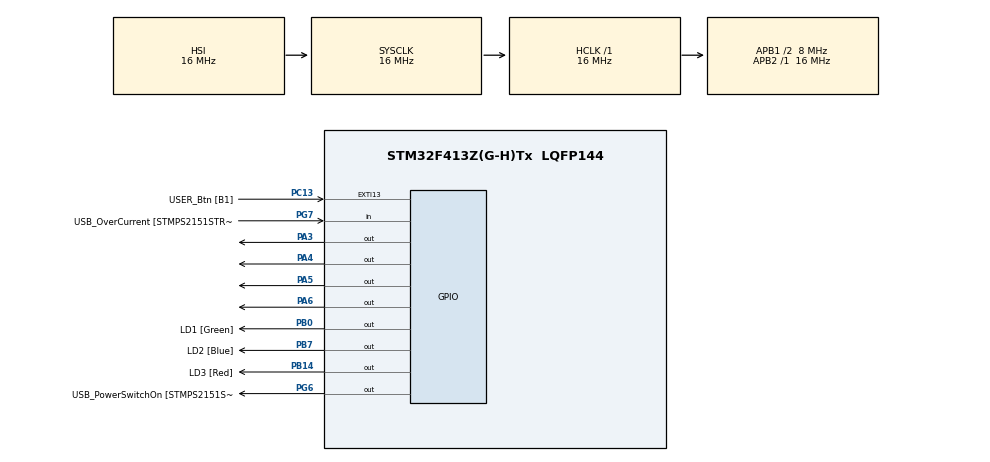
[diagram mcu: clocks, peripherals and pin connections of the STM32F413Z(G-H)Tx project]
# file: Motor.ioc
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Mcu.Family=STM32F4
Mcu.Name=STM32F413Z(G-H)Tx
Mcu.Package=LQFP144
NVIC.PriorityGroup=NVIC_PRIORITYGROUP_4
PA10.GPIO_Label=USB_ID
PA10.Signal=USB_OTG_FS_ID
PA11.GPIO_Label=USB_DM
PA11.Signal=USB_OTG_FS_DM
PA12.GPIO_Label=USB_DP
PA12.Signal=USB_OTG_FS_DP
PA13.GPIO_Label=TMS
PA13.Mode=Trace_Asynchronous_SW
PA13.Signal=SYS_JTMS-SWDIO
PA14.GPIO_Label=TCK
PA14.Mode=Trace_Asynchronous_SW
PA14.Signal=SYS_JTCK-SWCLK
PA3.Signal=GPIO_Output
PA4.Signal=GPIO_Output
PA5.Signal=GPIO_Output
PA6.Signal=GPIO_Output
PA8.GPIO_Label=USB_SOF [TP1]
PA8.Signal=USB_OTG_FS_SOF
PA9.GPIO_Label=USB_VBUS
PA9.Signal=USB_OTG_FS_VBUS
PB0.GPIO_Label=LD1 [Green]
PB0.Signal=GPIO_Output
PB14.GPIO_Label=LD3 [Red]
PB14.Signal=GPIO_Output
PB3.GPIO_Label=SWO
PB3.Mode=Trace_Asynchronous_SW
PB3.Signal=SYS_JTDO-SWO
PB7.GPIO_Label=LD2 [Blue]
PB7.Signal=GPIO_Output
PC13.GPIO_Label=USER_Btn [B1]
PC13.Signal=GPXTI13
PC14-OSC32_IN.Signal=RCC_OSC32_IN
PC15-OSC32_OUT.Signal=RCC_OSC32_OUT
PD8.GPIO_Label=STLK_RX [STM32F103CBT6_PA3]
PD8.Signal=USART3_TX
PD9.GPIO_Label=STLK_TX [STM32F103CBT6_PA2]
PD9.Signal=USART3_RX
PG6.GPIO_Label=USB_PowerSwitchOn [STMPS2151STR_EN]
PG6.Signal=GPIO_Output
PG7.GPIO_Label=USB_OverCurrent [STMPS2151STR_FAULT]
PG7.Signal=GPIO_Input
PH0\ -\ OSC_IN.GPIO_Label=MCO
PH0\ -\ OSC_IN.Mode=HSE-External-Oscillator
PH0\ -\ OSC_IN.Signal=RCC_OSC_IN
PH1\ -\ OSC_OUT.Mode=HSE-External-Oscillator
PH1\ -\ OSC_OUT.Signal=RCC_OSC_OUT
ProjectManager.HeapSize=0x200
ProjectManager.StackSize=0x400
ProjectManager.TargetToolchain=STM32CubeIDE
RCC.48MHZClocksFreq_Value=24000000
RCC.AHBFreq_Value=16000000
RCC.APB1CLKDivider=RCC_HCLK_DIV2
RCC.APB1Freq_Value=8000000
RCC.APB1TimFreq_Value=16000000
RCC.APB2Freq_Value=16000000
RCC.APB2TimFreq_Value=16000000
RCC.CortexFreq_Value=16000000
RCC.HCLKFreq_Value=16000000
RCC.HSE_VALUE=8000000
RCC.HSI_VALUE=16000000
RCC.PLLMUL=RCC_PLL_MUL9
RCC.PRESCALERUSB=RCC_USBCLKSOURCE_PLL_DIV1_5
RCC.SYSCLKFreq_VALUE=16000000
RCC.SYSCLKSourceVirtual=RCC_SYSCLKSOURCE_PLLCLK
RCC.USBFreq_Value=96000000
RCC.VCOOutputFreq_Value=192000000
TIM2.Prescaler=71
VP_TIM2_VS_ClockSourceINT.Mode=Internal
board=NUCLEO-F413ZH

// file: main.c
/* USER CODE BEGIN Header */
/**
  ******************************************************************************
  * @file           : main.c
  * @brief          : Main program body
  ******************************************************************************
  * @attention
  *
  * Copyright (c) 2022 STMicroelectronics.
  * All rights reserved.
  *
  * This software is licensed under terms that can be found in the LICENSE file
  * in the root directory of this software component.
  * If no LICENSE file comes with this software, it is provided AS-IS.
  *
  ******************************************************************************
  */
/* USER CODE END Header */
#include "main.h"

TIM_HandleTypeDef htim2;

void SystemClock_Config(void);
static void MX_GPIO_Init(void);
static void MX_TIM2_Init(void);

/* USER CODE BEGIN 0 */
#define IN1_PIN GPIO_PIN_6
#define IN1_PORT GPIOA
#define IN2_PIN GPIO_PIN_5
#define IN2_PORT GPIOA
#define IN3_PIN GPIO_PIN_4
#define IN3_PORT GPIOA
#define IN4_PIN GPIO_PIN_3
#define IN4_PORT GPIOA

void microDelay (uint16_t delay)
{
  __HAL_TIM_SET_COUNTER(&htim2, 0);
  while (__HAL_TIM_GET_COUNTER(&htim2) < delay);
}

void stepCCV (int steps, uint16_t delay) // CCV - Counter Clockwise
{
  for(int x=0; x<steps; x=x+1)
  {
    HAL_GPIO_WritePin(IN1_PORT, IN1_PIN, GPIO_PIN_SET);   // IN1
    HAL_GPIO_WritePin(IN2_PORT, IN2_PIN, GPIO_PIN_RESET); // IN2
    HAL_GPIO_WritePin(IN3_PORT, IN3_PIN, GPIO_PIN_RESET); // IN3
    HAL_GPIO_WritePin(IN4_PORT, IN4_PIN, GPIO_PIN_RESET); // IN4
    microDelay(delay);
    HAL_GPIO_WritePin(IN1_PORT, IN1_PIN, GPIO_PIN_SET);   // IN1
    HAL_GPIO_WritePin(IN2_PORT, IN2_PIN, GPIO_PIN_SET);   // IN2
    HAL_GPIO_WritePin(IN3_PORT, IN3_PIN, GPIO_PIN_RESET); // IN3
    HAL_GPIO_WritePin(IN4_PORT, IN4_PIN, GPIO_PIN_RESET); // IN4
    microDelay(delay);
    HAL_GPIO_WritePin(IN1_PORT, IN1_PIN, GPIO_PIN_RESET); // IN1
    HAL_GPIO_WritePin(IN2_PORT, IN2_PIN, GPIO_PIN_SET);   // IN2
    HAL_GPIO_WritePin(IN3_PORT, IN3_PIN, GPIO_PIN_RESET); // IN3
    HAL_GPIO_WritePin(IN4_PORT, IN4_PIN, GPIO_PIN_RESET); // IN4
    microDelay(delay);
    HAL_GPIO_WritePin(IN1_PORT, IN1_PIN, GPIO_PIN_RESET); // IN1
    HAL_GPIO_WritePin(IN2_PORT, IN2_PIN, GPIO_PIN_SET);   // IN2
    HAL_GPIO_WritePin(IN3_PORT, IN3_PIN, GPIO_PIN_SET);   // IN3
    HAL_GPIO_WritePin(IN4_PORT, IN4_PIN, GPIO_PIN_RESET); // IN4
    microDelay(delay);
    HAL_GPIO_WritePin(IN1_PORT, IN1_PIN, GPIO_PIN_RESET); // IN1
    HAL_GPIO_WritePin(IN2_PORT, IN2_PIN, GPIO_PIN_RESET); // IN2
    HAL_GPIO_WritePin(IN3_PORT, IN3_PIN, GPIO_PIN_SET);   // IN3
    HAL_GPIO_WritePin(IN4_PORT, IN4_PIN, GPIO_PIN_RESET); // IN4
    microDelay(delay);
    HAL_GPIO_WritePin(IN1_PORT, IN1_PIN, GPIO_PIN_RESET); // IN1
    HAL_GPIO_WritePin(IN2_PORT, IN2_PIN, GPIO_PIN_RESET); // IN2
    HAL_GPIO_WritePin(IN3_PORT, IN3_PIN, GPIO_PIN_SET);   // IN3
    HAL_GPIO_WritePin(IN4_PORT, IN4_PIN, GPIO_PIN_SET);   // IN4
    microDelay(delay);
    HAL_GPIO_WritePin(IN1_PORT, IN1_PIN, GPIO_PIN_RESET); // IN1
    HAL_GPIO_WritePin(IN2_PORT, IN2_PIN, GPIO_PIN_RESET); // IN2
    HAL_GPIO_WritePin(IN3_PORT, IN3_PIN, GPIO_PIN_RESET); // IN3
    HAL_GPIO_WritePin(IN4_PORT, IN4_PIN, GPIO_PIN_SET);   // IN4
    microDelay(delay);
    HAL_GPIO_WritePin(IN1_PORT, IN1_PIN, GPIO_PIN_SET);   // IN1
    HAL_GPIO_WritePin(IN2_PORT, IN2_PIN, GPIO_PIN_RESET); // IN2
    HAL_GPIO_WritePin(IN3_PORT, IN3_PIN, GPIO_PIN_RESET); // IN3
    HAL_GPIO_WritePin(IN4_PORT, IN4_PIN, GPIO_PIN_SET);   // IN4
    microDelay(delay);
  }
}

void stepCV (int steps, uint16_t delay) // CV - Clockwise
{
  for(int x=0; x<steps; x=x+1)
  {
    HAL_GPIO_WritePin(IN1_PORT, IN1_PIN, GPIO_PIN_SET);   // IN1
    HAL_GPIO_WritePin(IN2_PORT, IN2_PIN, GPIO_PIN_RESET); // IN2
    HAL_GPIO_WritePin(IN3_PORT, IN3_PIN, GPIO_PIN_RESET); // IN3
    HAL_GPIO_WritePin(IN4_PORT, IN4_PIN, GPIO_PIN_SET);   // IN4
    microDelay(delay);
    HAL_GPIO_WritePin(IN1_PORT, IN1_PIN, GPIO_PIN_RESET); // IN1
    HAL_GPIO_WritePin(IN2_PORT, IN2_PIN, GPIO_PIN_RESET); // IN2
    HAL_GPIO_WritePin(IN3_PORT, IN3_PIN, GPIO_PIN_RESET); // IN3
    HAL_GPIO_WritePin(IN4_PORT, IN4_PIN, GPIO_PIN_SET);   // IN4
    microDelay(delay);
    HAL_GPIO_WritePin(IN1_PORT, IN1_PIN, GPIO_PIN_RESET); // IN1
    HAL_GPIO_WritePin(IN2_PORT, IN2_PIN, GPIO_PIN_RESET); // IN2
    HAL_GPIO_WritePin(IN3_PORT, IN3_PIN, GPIO_PIN_SET);   // IN3
    HAL_GPIO_WritePin(IN4_PORT, IN4_PIN, GPIO_PIN_SET);   // IN4
    microDelay(delay);
    HAL_GPIO_WritePin(IN1_PORT, IN1_PIN, GPIO_PIN_RESET); // IN1
    HAL_GPIO_WritePin(IN2_PORT, IN2_PIN, GPIO_PIN_RESET); // IN2
    HAL_GPIO_WritePin(IN3_PORT, IN3_PIN, GPIO_PIN_SET);   // IN3
    HAL_GPIO_WritePin(IN4_PORT, IN4_PIN, GPIO_PIN_RESET); // IN4
    microDelay(delay);
    HAL_GPIO_WritePin(IN1_PORT, IN1_PIN, GPIO_PIN_RESET); // IN1
    HAL_GPIO_WritePin(IN2_PORT, IN2_PIN, GPIO_PIN_SET);   // IN2
    HAL_GPIO_WritePin(IN3_PORT, IN3_PIN, GPIO_PIN_SET);   // IN3
    HAL_GPIO_WritePin(IN4_PORT, IN4_PIN, GPIO_PIN_RESET); // IN4
    microDelay(delay);
    HAL_GPIO_WritePin(IN1_PORT, IN1_PIN, GPIO_PIN_RESET); // IN1
    HAL_GPIO_WritePin(IN2_PORT, IN2_PIN, GPIO_PIN_SET);   // IN2
    HAL_GPIO_WritePin(IN3_PORT, IN3_PIN, GPIO_PIN_RESET); // IN3
    HAL_GPIO_WritePin(IN4_PORT, IN4_PIN, GPIO_PIN_RESET); // IN4
    microDelay(delay);
    HAL_GPIO_WritePin(IN1_PORT, IN1_PIN, GPIO_PIN_SET);   // IN1
    HAL_GPIO_WritePin(IN2_PORT, IN2_PIN, GPIO_PIN_SET);   // IN2
    HAL_GPIO_WritePin(IN3_PORT, IN3_PIN, GPIO_PIN_RESET); // IN3
    HAL_GPIO_WritePin(IN4_PORT, IN4_PIN, GPIO_PIN_RESET); // IN4
    microDelay(delay);
    HAL_GPIO_WritePin(IN1_PORT, IN1_PIN, GPIO_PIN_SET);   // IN1
    HAL_GPIO_WritePin(IN2_PORT, IN2_PIN, GPIO_PIN_RESET); // IN2
    HAL_GPIO_WritePin(IN3_PORT, IN3_PIN, GPIO_PIN_RESET); // IN3
    HAL_GPIO_WritePin(IN4_PORT, IN4_PIN, GPIO_PIN_RESET); // IN4
    microDelay(delay);
  }
}
/* USER CODE END 0 */

int main(void)
{

  /* MCU Configuration--------------------------------------------------------*/

  /* Reset of all peripherals, Initializes the Flash interface and the Systick. */
  HAL_Init();

  /* Configure the system clock */
  SystemClock_Config();

  /* Initialize all configured peripherals */
  MX_GPIO_Init();
  MX_TIM2_Init();
  /* USER CODE BEGIN 2 */
  HAL_TIM_Base_Start(&htim2);
  /* USER CODE END 2 */

  /* Infinite loop */
  /* USER CODE BEGIN WHILE */
  while (1)
  {
    // 512 full rev & 1 rpm - 14648
  //  stepCV(512, 200);  // 256 half revolution
  //  HAL_Delay(500);
    /* USER CODE END WHILE */

  }
}

void SystemClock_Config(void)
{
  RCC_OscInitTypeDef RCC_OscInitStruct = {0};
  RCC_ClkInitTypeDef RCC_ClkInitStruct = {0};

  /** Configure the main internal regulator output voltage
  */
  __HAL_RCC_PWR_CLK_ENABLE();
  __HAL_PWR_VOLTAGESCALING_CONFIG(PWR_REGULATOR_VOLTAGE_SCALE1);

  /** Initializes the RCC Oscillators according to the specified parameters
  * in the RCC_OscInitTypeDef structure.
  */
  RCC_OscInitStruct.OscillatorType = RCC_OSCILLATORTYPE_HSI;
  RCC_OscInitStruct.HSIState = RCC_HSI_ON;
  RCC_OscInitStruct.HSICalibrationValue = RCC_HSICALIBRATION_DEFAULT;
  RCC_OscInitStruct.PLL.PLLState = RCC_PLL_NONE;
  if (HAL_RCC_OscConfig(&RCC_OscInitStruct) != HAL_OK)
  {
    Error_Handler();
  }

  /** Initializes the CPU, AHB and APB buses clocks
  */
  RCC_ClkInitStruct.ClockType = RCC_CLOCKTYPE_HCLK|RCC_CLOCKTYPE_SYSCLK
                              |RCC_CLOCKTYPE_PCLK1|RCC_CLOCKTYPE_PCLK2;
  RCC_ClkInitStruct.SYSCLKSource = RCC_SYSCLKSOURCE_HSI;
  RCC_ClkInitStruct.AHBCLKDivider = RCC_SYSCLK_DIV1;
  RCC_ClkInitStruct.APB1CLKDivider = RCC_HCLK_DIV2;
  RCC_ClkInitStruct.APB2CLKDivider = RCC_HCLK_DIV1;

  if (HAL_RCC_ClockConfig(&RCC_ClkInitStruct, FLASH_LATENCY_0) != HAL_OK)
  {
    Error_Handler();
  }
}

static void MX_TIM2_Init(void)
{

  TIM_ClockConfigTypeDef sClockSourceConfig = {0};
  TIM_MasterConfigTypeDef sMasterConfig = {0};

  htim2.Instance = TIM2;
  htim2.Init.Prescaler = 71;
  htim2.Init.CounterMode = TIM_COUNTERMODE_UP;
  htim2.Init.Period = 4294967295;
  htim2.Init.ClockDivision = TIM_CLOCKDIVISION_DIV1;
  htim2.Init.AutoReloadPreload = TIM_AUTORELOAD_PRELOAD_DISABLE;
  if (HAL_TIM_Base_Init(&htim2) != HAL_OK)
  {
    Error_Handler();
  }
  sClockSourceConfig.ClockSource = TIM_CLOCKSOURCE_INTERNAL;
  if (HAL_TIM_ConfigClockSource(&htim2, &sClockSourceConfig) != HAL_OK)
  {
    Error_Handler();
  }
  sMasterConfig.MasterOutputTrigger = TIM_TRGO_RESET;
  sMasterConfig.MasterSlaveMode = TIM_MASTERSLAVEMODE_DISABLE;
  if (HAL_TIMEx_MasterConfigSynchronization(&htim2, &sMasterConfig) != HAL_OK)
  {
    Error_Handler();
  }

}

static void MX_GPIO_Init(void)
{
  GPIO_InitTypeDef GPIO_InitStruct = {0};

  /* GPIO Ports Clock Enable */
  __HAL_RCC_GPIOC_CLK_ENABLE();
  __HAL_RCC_GPIOH_CLK_ENABLE();
  __HAL_RCC_GPIOA_CLK_ENABLE();
  __HAL_RCC_GPIOB_CLK_ENABLE();
  __HAL_RCC_GPIOD_CLK_ENABLE();
  __HAL_RCC_GPIOG_CLK_ENABLE();

  /*Configure GPIO pin Output Level */
  HAL_GPIO_WritePin(GPIOA, GPIO_PIN_3|GPIO_PIN_4|GPIO_PIN_5|GPIO_PIN_6, GPIO_PIN_RESET);

  /*Configure GPIO pin Output Level */
  HAL_GPIO_WritePin(GPIOB, LD1_Pin|LD3_Pin|LD2_Pin, GPIO_PIN_RESET);

  /*Configure GPIO pin Output Level */
  HAL_GPIO_WritePin(USB_PowerSwitchOn_GPIO_Port, USB_PowerSwitchOn_Pin, GPIO_PIN_RESET);

  /*Configure GPIO pin : USER_Btn_Pin */
  GPIO_InitStruct.Pin = USER_Btn_Pin;
  GPIO_InitStruct.Mode = GPIO_MODE_IT_RISING;
  GPIO_InitStruct.Pull = GPIO_NOPULL;
  HAL_GPIO_Init(USER_Btn_GPIO_Port, &GPIO_InitStruct);

  /*Configure GPIO pins : PA3 PA4 PA5 PA6 */
  GPIO_InitStruct.Pin = GPIO_PIN_3|GPIO_PIN_4|GPIO_PIN_5|GPIO_PIN_6;
  GPIO_InitStruct.Mode = GPIO_MODE_OUTPUT_PP;
  GPIO_InitStruct.Pull = GPIO_NOPULL;
  GPIO_InitStruct.Speed = GPIO_SPEED_FREQ_LOW;
  HAL_GPIO_Init(GPIOA, &GPIO_InitStruct);

  /*Configure GPIO pins : LD1_Pin LD3_Pin LD2_Pin */
  GPIO_InitStruct.Pin = LD1_Pin|LD3_Pin|LD2_Pin;
  GPIO_InitStruct.Mode = GPIO_MODE_OUTPUT_PP;
  GPIO_InitStruct.Pull = GPIO_NOPULL;
  GPIO_InitStruct.Speed = GPIO_SPEED_FREQ_LOW;
  HAL_GPIO_Init(GPIOB, &GPIO_InitStruct);

  /*Configure GPIO pins : STLK_RX_Pin STLK_TX_Pin */
  GPIO_InitStruct.Pin = STLK_RX_Pin|STLK_TX_Pin;
  GPIO_InitStruct.Mode = GPIO_MODE_AF_PP;
  GPIO_InitStruct.Pull = GPIO_NOPULL;
  GPIO_InitStruct.Speed = GPIO_SPEED_FREQ_VERY_HIGH;
  GPIO_InitStruct.Alternate = GPIO_AF7_USART3;
  HAL_GPIO_Init(GPIOD, &GPIO_InitStruct);

  /*Configure GPIO pin : USB_PowerSwitchOn_Pin */
  GPIO_InitStruct.Pin = USB_PowerSwitchOn_Pin;
  GPIO_InitStruct.Mode = GPIO_MODE_OUTPUT_PP;
  GPIO_InitStruct.Pull = GPIO_NOPULL;
  GPIO_InitStruct.Speed = GPIO_SPEED_FREQ_LOW;
  HAL_GPIO_Init(USB_PowerSwitchOn_GPIO_Port, &GPIO_InitStruct);

  /*Configure GPIO pin : USB_OverCurrent_Pin */
  GPIO_InitStruct.Pin = USB_OverCurrent_Pin;
  GPIO_InitStruct.Mode = GPIO_MODE_INPUT;
  GPIO_InitStruct.Pull = GPIO_NOPULL;
  HAL_GPIO_Init(USB_OverCurrent_GPIO_Port, &GPIO_InitStruct);

  /*Configure GPIO pins : USB_SOF_Pin USB_ID_Pin USB_DM_Pin USB_DP_Pin */
  GPIO_InitStruct.Pin = USB_SOF_Pin|USB_ID_Pin|USB_DM_Pin|USB_DP_Pin;
  GPIO_InitStruct.Mode = GPIO_MODE_AF_PP;
  GPIO_InitStruct.Pull = GPIO_NOPULL;
  GPIO_InitStruct.Speed = GPIO_SPEED_FREQ_VERY_HIGH;
  GPIO_InitStruct.Alternate = GPIO_AF10_OTG_FS;
  HAL_GPIO_Init(GPIOA, &GPIO_InitStruct);

}

void Error_Handler(void)
{
  __disable_irq();
  while (1)
  {
  }
}
